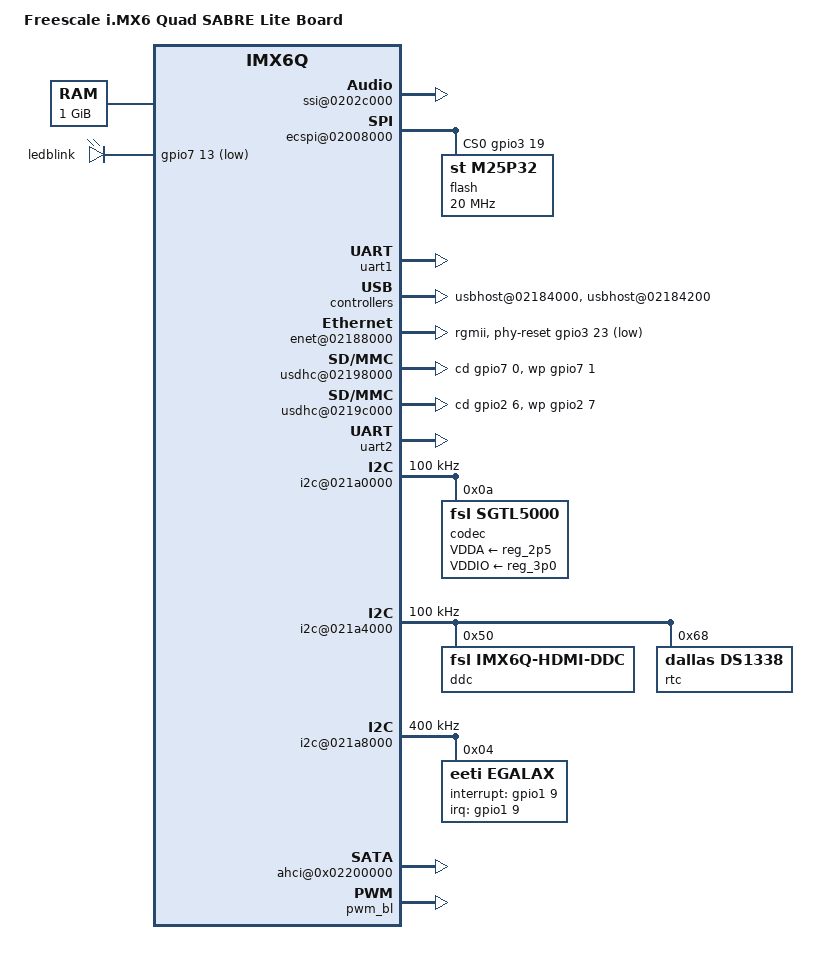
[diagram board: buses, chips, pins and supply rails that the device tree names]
/*
 * Copyright 2011 Freescale Semiconductor, Inc.
 * Copyright 2011 Linaro Ltd.
 *
 * The code contained herein is licensed under the GNU General Public
 * License. You may obtain a copy of the GNU General Public License
 * Version 2 or later at the following locations:
 *
 * http://www.opensource.org/licenses/gpl-license.html
 * http://www.gnu.org/copyleft/gpl.html
 */

/dts-v1/;
/include/ "imx6q.dtsi"

/ {
	model = "Freescale i.MX6 Quad SABRE Lite Board";
	compatible = "fsl,imx6q-sabrelite", "fsl,imx6q";

	memory {
		reg = <0x10000000 0x40000000>;
	};

	soc {
		aips-bus@02000000 { /* AIPS1 */
			spba-bus@02000000 {
				ssi@0202c000 { /* SSI2 */
					status = "okay";
					fsl,ssi-uses-dma;
					fsl,ssi-synchronous-mode;
				};

				ecspi@02008000 { /* eCSPI1 */
					fsl,spi-num-chipselects = <1>;
					cs-gpios = <&gpio3 19 0>;
					status = "okay";

					flash: m25p32@0 {
						compatible = "st,m25p32", "st,m25p";
						spi-max-frequency = <20000000>;
						reg = <0>;
					};
				};

				uart1: uart@02020000 { 
				 	   status = "okay";
			   };

			};

			ldb@020e0000 {
				disp-pwr-gpios = <&gpio1 0 0>; /* gpio2 0 */
				mode = "sin0";
				ext_ref = "true";
				lvds0 = <1 0>;
			};

			wdog@020bc000 { /* WDOG1 */
				status = "okay";
			};
		};

		aips-bus@02100000 { /* AIPS2 */
			usbhost@02184000 { /* USB OTG PORT */
				otg-pwr-gpios = <&gpio2 22 0>;
				status = "okay";
			};

			usbhost@02184200 { /* USB Host1 */
				hub-reset-gpios = <&gpio6 12 0>;
				status = "okay";
			};

			enet@02188000 {
				phy-mode = "rgmii";
				phy-reset-gpios = <&gpio3 23 0>;
				status = "okay";
			};

			usdhc@02198000 { /* uSDHC3 */
				cd-gpios = <&gpio7 0 0>;
				wp-gpios = <&gpio7 1 0>;
				status = "okay";
			};

			usdhc@0219c000 { /* uSDHC4 */
				cd-gpios = <&gpio2 6 0>;
				wp-gpios = <&gpio2 7 0>;
				status = "okay";
			};

			audmux@021d8000 {
				status = "okay";
			};
			uart2: uart@021e8000 {
				status = "okay";
			};
			i2c@021a0000 { /* I2C1 */
				status = "okay";
				clock-frequency = <100000>;

				codec: sgtl5000@0a {
					compatible = "fsl,sgtl5000";
					reg = <0x0a>;
					VDDA-supply = <&reg_2p5>;
					VDDIO-supply = <&reg_3p0>;
				};
			};

			i2c@021a4000 { /* I2C2 */
				status = "okay";
				clock-frequency = <100000>;

				ddc: ddc@50 {
					compatible = "fsl,imx6q-hdmi-ddc";
					reg = <0x50>;
				};
				rtc@68 {
					compatible = "dallas,ds1338";
					reg = <0x68>;
				};
			};

			i2c@021a8000 { /* I2C3 */
				status = "okay";
				clock-frequency = <400000>;

				egalax@04 {
					compatible = "eeti,egalax";
					reg = <0x04>;
					interrupt-parent = <&gpio1>;
					interrupts = <9>;
					interrupt-gpio = <&gpio1 9 0>;
				};
			};
		};

		hdmi@0x00120000 { /* HDMI */
			ipu = <0>;
			di = <0>;
		};

		ahci@0x02200000 { /* AHCI SATA */
			status = "okay";
		};
	};

	leds {
		compatible = "gpio-leds";

		debug-led {
			label = "ledblink";
			gpios = <&gpio7 13 1>; /* GPIO7_13 */
			linux,default-trigger = "none";
		};
	};

	backlight {
		#address-cells = <1>;
		#size-cells = <0>;
		compatible = "simple-bus";

		pwm_bl {
			compatible = "pwm-bl";
			pwm-parent = <&pwm4>;
			max_brightness = <255>;
			dft_brightness = <128>;
			pwm_period_ns = <50000>;
		};
	};

	displays {
		#address-cells = <1>;
		#size-cells = <1>;
		compatible = "simple-bus";
		ranges;

		disp1: fb@0 {
			compatible = "fsl,mxcfb-ipuv3";
			disp_dev = "ldb";
			interface_pix_fmt = "RGB666";
			mode_str = "LDB-XGA";
			internal_clk = "false";
			reg = <0x00000000 0x0>;	/* reserve fb mem */
		};

		disp2: fb@1 {
			compatible = "fsl,mxcfb-ipuv3";
			disp_dev = "hdmi";
			interface_pix_fmt = "RGB24";
			mode_str = "1280x720M@60";
			internal_clk = "false";
			reg = <0x00000001 0x0>;	/* reserve fb mem */
		};

		v4l2-out@0 {
			compatible = "fsl,vout_ipuv3";
		};
	};

	regulators {
		compatible = "simple-bus";

		reg_vddpu: regulator-vddpu {
			compatible = "fsl,anatop-regulator";
			regulator-name = "vddpu";
			regulator-min-microvolt = <725000>;
			regulator-max-microvolt = <1300000>;
			regulator-always-on;
			control-reg = <0x20c8140>;
			vol-bit-shift = <9>;
			vol-bit-mask = <0x1f>;
			min-bit-val = <1>;
			min-voltage = <725000>;
			max-voltage = <1300000>;
		};

		reg_vddcore: regulator-vddcore {
			compatible = "fsl,anatop-regulator";
			regulator-name = "vddcore";
			regulator-min-microvolt = <725000>;
			regulator-max-microvolt = <1300000>;
			regulator-always-on;
			control-reg = <0x20c8140>;
			vol-bit-shift = <0>;
			vol-bit-mask = <0x1f>;
			min-bit-val = <1>;
			min-voltage = <725000>;
			max-voltage = <1300000>;
		};

		reg_vddsoc: regulator-vddsoc {
			compatible = "fsl,anatop-regulator";
			regulator-name = "vddsoc";
			regulator-min-microvolt = <725000>;
			regulator-max-microvolt = <1300000>;
			regulator-always-on;
			control-reg = <0x20c8140>;
			vol-bit-shift = <18>;
			vol-bit-mask = <0x1f>;
			min-bit-val = <1>;
			min-voltage = <725000>;
			max-voltage = <1300000>;
		};

		reg_2p5: regulator-2p5 {
			compatible = "fsl,anatop-regulator";
			regulator-name = "vdd2p5";
			regulator-min-microvolt = <2000000>;
			regulator-max-microvolt = <2775000>;
			regulator-always-on;
			control-reg = <0x20c8130>;
			vol-bit-shift = <8>;
			vol-bit-mask = <0x1f>;
			min-bit-val = <0>;
			min-voltage = <2000000>;
			max-voltage = <2775000>;
		};

		reg_1p1: regulator-1p1 {
			compatible = "fsl,anatop-regulator";
			regulator-name = "vdd1p1";
			regulator-min-microvolt = <800000>;
			regulator-max-microvolt = <1400000>;
			regulator-always-on;
			control-reg = <0x20c8110>;
			vol-bit-shift = <8>;
			vol-bit-mask = <0x1f>;
			min-bit-val = <4>;
			min-voltage = <800000>;
			max-voltage = <1400000>;
		};

		reg_3p0: regulator-3p0 {
			compatible = "fsl,anatop-regulator";
			regulator-name = "vdd3p0";
			regulator-min-microvolt = <2800000>;
			regulator-max-microvolt = <3150000>;
			regulator-always-on;
			control-reg = <0x20c8120>;
			vol-bit-shift = <8>;
			vol-bit-mask = <0x1f>;
			min-bit-val = <7>;
			min-voltage = <2800000>;
			max-voltage = <3150000>;
		};
	};
};
